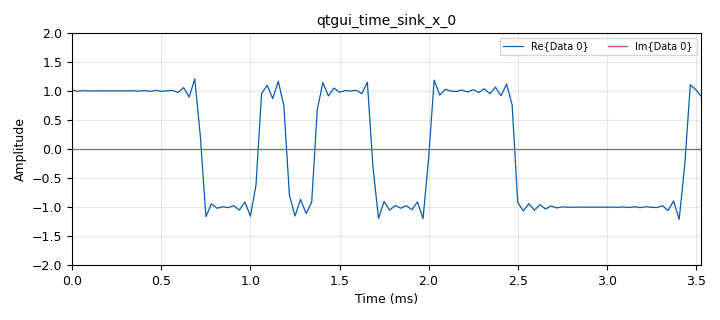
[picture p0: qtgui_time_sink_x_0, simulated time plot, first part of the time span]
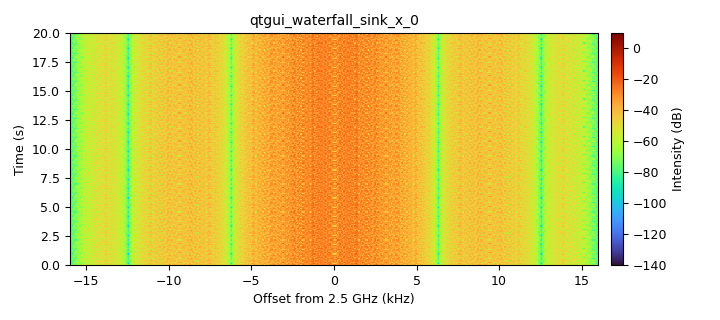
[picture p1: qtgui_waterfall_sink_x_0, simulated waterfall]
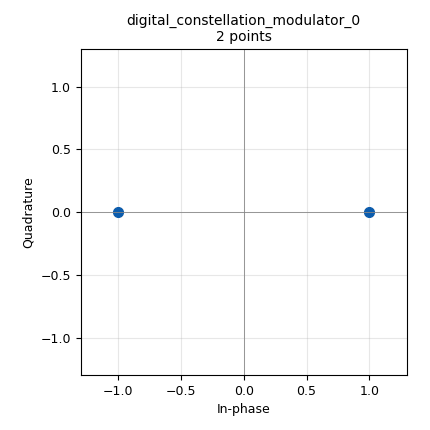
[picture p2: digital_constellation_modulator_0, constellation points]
options:
  parameters:
    generate_options: qt_gui
    id: ImprovedDigitalJammer
    output_language: python
    title: ImprovedDigitalJammer
  states: {}

blocks:
- name: center_freq_slider
  id: variable_qtgui_range
  parameters:
    orient: Qt.Horizontal
    start: 2.48e9
    step: 10e3
    stop: 2.52e9
    value: 2.5e9
  states: {}
- name: myconstell
  id: variable_constellation
  parameters:
    precision: '8'
    type: bpsk
  states: {}
- name: samp_rate
  id: variable
  parameters:
    value: '32000'
  states: {}
- name: symbol_rate
  id: variable
  parameters:
    value: 100e3
  states: {}
- name: analog_random_source_x_0
  id: analog_random_source_x
  parameters:
    max: '2'
    min: '0'
    num_samps: '1000'
    repeat: 'True'
    type: byte
  states: {}
- name: digital_constellation_modulator_0
  id: digital_constellation_modulator
  parameters:
    constellation: myconstell
    differential: 'True'
    excess_bw: '0.35'
    samples_per_symbol: '2'
  states: {}
- name: osmosdr_sink_0
  id: osmosdr_sink
  parameters:
    args: '"hackrf=0"'
    bb_gain0: '0'
    freq0: center_freq_slider
    gain0: '0'
    if_gain0: '47'
    sample_rate: samp_rate
    sync: sync
    type: fc32
  states: {}
- name: qtgui_time_sink_x_0
  id: qtgui_time_sink_x
  parameters:
    size: '1024'
    srate: samp_rate
    type: complex
    ymax: '2'
    ymin: '-2'
  states: {}
- name: qtgui_waterfall_sink_x_0
  id: qtgui_waterfall_sink_x
  parameters:
    bw: samp_rate
    fc: center_freq_slider
    fftsize: '1024'
    type: complex
    wintype: firdes.WIN_BLACKMAN_hARRIS
  states: {}
- name: rational_resampler_xxx_0
  id: rational_resampler_xxx
  parameters:
    decim: int(symbol_rate)
    interp: int(samp_rate)
    taps: ''
    type: ccc
  states: {}

connections:
- [analog_random_source_x_0, '0', digital_constellation_modulator_0, '0']
- [digital_constellation_modulator_0, '0', rational_resampler_xxx_0, '0']
- [rational_resampler_xxx_0, '0', osmosdr_sink_0, '0']
- [rational_resampler_xxx_0, '0', qtgui_time_sink_x_0, '0']
- [rational_resampler_xxx_0, '0', qtgui_waterfall_sink_x_0, '0']

metadata:
  file_format: 1
